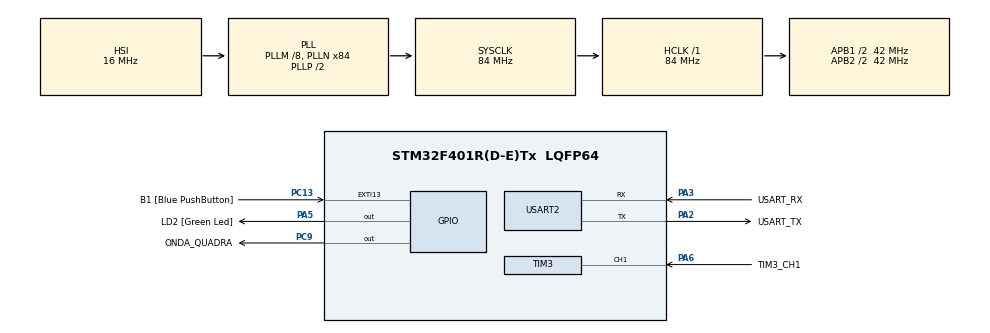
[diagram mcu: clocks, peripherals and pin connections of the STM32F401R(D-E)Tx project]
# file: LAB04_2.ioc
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Mcu.Family=STM32F4
Mcu.Name=STM32F401R(D-E)Tx
Mcu.Package=LQFP64
NVIC.PriorityGroup=NVIC_PRIORITYGROUP_0
NVIC.TIM2_IRQn=true\:0\:0\:false\:false\:true\:true\:true
NVIC.TIM3_IRQn=true\:0\:0\:false\:false\:true\:true\:true
NVIC.USART2_IRQn=true\:0\:0\:false\:false\:true\:true\:true
PA13.GPIO_Label=TMS
PA13.Mode=Serial_Wire
PA13.Signal=SYS_JTMS-SWDIO
PA14.GPIO_Label=TCK
PA14.Mode=Serial_Wire
PA14.Signal=SYS_JTCK-SWCLK
PA2.GPIO_Label=USART_TX
PA2.GPIO_Mode=GPIO_MODE_AF_PP
PA2.GPIO_PuPd=GPIO_NOPULL
PA2.GPIO_Speed=GPIO_SPEED_FREQ_LOW
PA2.Mode=Asynchronous
PA2.Signal=USART2_TX
PA3.GPIO_Label=USART_RX
PA3.GPIO_Mode=GPIO_MODE_AF_PP
PA3.GPIO_PuPd=GPIO_NOPULL
PA3.GPIO_Speed=GPIO_SPEED_FREQ_LOW
PA3.Mode=Asynchronous
PA3.Signal=USART2_RX
PA5.GPIO_Label=LD2 [Green Led]
PA5.GPIO_Mode=GPIO_MODE_OUTPUT_PP
PA5.GPIO_PuPd=GPIO_NOPULL
PA5.GPIO_Speed=GPIO_SPEED_FREQ_LOW
PA5.Signal=GPIO_Output
PA6.GPIO_Label=TIM3_CH1
PA6.Signal=S_TIM3_CH1
PB3.GPIO_Label=SWO
PB3.Signal=SYS_JTDO-SWO
PC13-ANTI_TAMP.GPIO_Label=B1 [Blue PushButton]
PC13-ANTI_TAMP.GPIO_ModeDefaultEXTI=GPIO_MODE_IT_FALLING
PC13-ANTI_TAMP.GPIO_PuPd=GPIO_NOPULL
PC13-ANTI_TAMP.Signal=GPXTI13
PC14-OSC32_IN.Mode=LSE-External-Oscillator
PC14-OSC32_IN.Signal=RCC_OSC32_IN
PC15-OSC32_OUT.Mode=LSE-External-Oscillator
PC15-OSC32_OUT.Signal=RCC_OSC32_OUT
PC9.GPIO_Label=ONDA_QUADRA
PC9.Signal=GPIO_Output
PH0\ -\ OSC_IN.Mode=HSE-External-Clock-Source
PH0\ -\ OSC_IN.Signal=RCC_OSC_IN
PH1\ -\ OSC_OUT.Mode=HSE-External-Clock-Source
PH1\ -\ OSC_OUT.Signal=RCC_OSC_OUT
ProjectManager.HeapSize=0x200
ProjectManager.StackSize=0x400
ProjectManager.TargetToolchain=STM32CubeIDE
RCC.48MHZClocksFreq_Value=24000000
RCC.AHBFreq_Value=84000000
RCC.APB1CLKDivider=RCC_HCLK_DIV2
RCC.APB1Freq_Value=42000000
RCC.APB1TimFreq_Value=84000000
RCC.APB2CLKDivider=RCC_HCLK_DIV2
RCC.APB2Freq_Value=42000000
RCC.APB2TimFreq_Value=84000000
RCC.CortexFreq_Value=84000000
RCC.HCLKFreq_Value=84000000
RCC.HSE_VALUE=8000000
RCC.HSI_VALUE=16000000
RCC.PLLM=8
RCC.PLLN=84
RCC.PLLQ=7
RCC.SYSCLKFreq_VALUE=84000000
RCC.SYSCLKSource=RCC_SYSCLKSOURCE_PLLCLK
RCC.VCOOutputFreq_Value=168000000
SH.S_TIM3_CH1.0=TIM3_CH1,Input_Capture1_from_TI1
TIM2.Channel-Output\ Compare1\ No\ Output=TIM_CHANNEL_1
TIM2.Period=99
TIM2.Prescaler=4199
TIM3.Channel-Input_Capture1_from_TI1=TIM_CHANNEL_1
TIM3.ICPolarity_CH1=TIM_INPUTCHANNELPOLARITY_BOTHEDGE
TIM3.Period=9999
TIM3.Prescaler=167
USART2.VirtualMode=VM_ASYNC
VP_TIM2_VS_ClockSourceINT.Mode=Internal
VP_TIM2_VS_no_output1.Mode=Output Compare1 No Output
VP_TIM3_VS_ClockSourceINT.Mode=Internal
board=NUCLEO-F401RE

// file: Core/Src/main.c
/* USER CODE BEGIN Header */
/**
  ******************************************************************************
  * @file           : main.c
  * @brief          : Main program body
  ******************************************************************************
  * @attention
  *
  * <h2><center>&copy; Copyright (c) 2023 STMicroelectronics.
  * All rights reserved.</center></h2>
  *
  * This software component is licensed by ST under BSD 3-Clause license,
  * the "License"; You may not use this file except in compliance with the
  * License. You may obtain a copy of the License at:
  *                        opensource.org/licenses/BSD-3-Clause
  *
  ******************************************************************************
  */
/* USER CODE END Header */
#include "main.h"

/* USER CODE BEGIN Includes */
#include "string.h"
#include <stdio.h>
#include <stdlib.h>
/* USER CODE END Includes */

/* USER CODE BEGIN PD */
#define CAPTURING 0
#define DONE 1
#define NONE 0
#define RISING 1
#define FALLING 2
/* USER CODE END PD */

TIM_HandleTypeDef htim2;
TIM_HandleTypeDef htim3;

UART_HandleTypeDef huart2;

/* USER CODE BEGIN PV */
char msg[30];
char receivedData[3];
char test[] = "\rHo catturato qualcosa!\r\n";
char msg_overflow[] = "\rOverflow!\r\n";
volatile uint8_t number_of_overflows = 0;
volatile uint8_t number_of_overflows_fall = 0;
volatile uint8_t captured_edge = 0;
volatile uint16_t cnt_1 = 0;
volatile uint16_t cnt_2 = 0;
volatile uint16_t cnt_fall = 0;
volatile uint16_t delta_cnt = 0;
volatile uint16_t delta_fall = 0;
volatile uint16_t frequency;
volatile uint8_t max_frequency = 0;
volatile uint8_t min_frequency = 0;
volatile uint8_t dutycycle;
volatile uint8_t read_buffer_new = 0;
volatile uint8_t counting_fall_overflows = 0;
volatile uint8_t counting_overflows = 0;
volatile uint8_t variables_reset = 0;
char readBuf[1];
char msg[30];
volatile uint8_t user_choice = 0;
/* USER CODE END PV */

void SystemClock_Config(void);
static void MX_GPIO_Init(void);
static void MX_USART2_UART_Init(void);
static void MX_TIM3_Init(void);
static void MX_TIM2_Init(void);
/* USER CODE BEGIN PFP */
void processCapturedData(uint8_t edge_type);//
/* USER CODE END PFP */

int main(void)
{

  /* MCU Configuration--------------------------------------------------------*/

  /* Reset of all peripherals, Initializes the Flash interface and the Systick. */
  HAL_Init();

  /* Configure the system clock */
  SystemClock_Config();

  /* Initialize all configured peripherals */
  MX_GPIO_Init();
  MX_USART2_UART_Init();
  MX_TIM3_Init();
  MX_TIM2_Init();
  /* USER CODE BEGIN 2 */
  TIM2->CCR1 = 20;
  HAL_TIM_OC_Start_IT(&htim2,TIM_CHANNEL_1);
  HAL_TIM_IC_Start_IT(&htim3,TIM_CHANNEL_1);
  /* USER CODE END 2 */

  /* Infinite loop */
  /* USER CODE BEGIN WHILE */
  HAL_UART_Receive_IT(&huart2, (uint8_t*)readBuf, 1);
  while (1)
  {
	  //prints an error message if the user inputs a value other than the proposed ones
	  //	  if (user_choice <0 || user_choice >3){
	  //		  HAL_UART_Transmit_IT(&huart2, (uint8_t*)ERROR_MSG, strlen(ERROR_MSG));
	  //	  }
	  //	  if (number_of_overflows != 0){
	  //		  sprintf(msg, "Overflow number: %u\r\n", number_of_overflows);
	  //		  HAL_UART_Transmit_IT(&huart2, (uint8_t*)msg, strlen(msg));
	  //	  }
	  if (captured_edge != NONE){
		  processCapturedData(captured_edge);
	  }
	  if (number_of_overflows > 100){
		  cnt_1 = 0;
		  cnt_2 = 0;
		  cnt_fall = 0;
		  delta_cnt = 0;
		  delta_fall = 0;
		  dutycycle = 0;
		  frequency = 0;
		  number_of_overflows = 0;
		  counting_overflows = 0;
	  }
    /* USER CODE END WHILE */

  }
}

void SystemClock_Config(void)
{
  RCC_OscInitTypeDef RCC_OscInitStruct = {0};
  RCC_ClkInitTypeDef RCC_ClkInitStruct = {0};

  /** Configure the main internal regulator output voltage
  */
  __HAL_RCC_PWR_CLK_ENABLE();
  __HAL_PWR_VOLTAGESCALING_CONFIG(PWR_REGULATOR_VOLTAGE_SCALE2);
  /** Initializes the RCC Oscillators according to the specified parameters
  * in the RCC_OscInitTypeDef structure.
  */
  RCC_OscInitStruct.OscillatorType = RCC_OSCILLATORTYPE_HSI;
  RCC_OscInitStruct.HSIState = RCC_HSI_ON;
  RCC_OscInitStruct.HSICalibrationValue = RCC_HSICALIBRATION_DEFAULT;
  RCC_OscInitStruct.PLL.PLLState = RCC_PLL_ON;
  RCC_OscInitStruct.PLL.PLLSource = RCC_PLLSOURCE_HSI;
  RCC_OscInitStruct.PLL.PLLM = 8;
  RCC_OscInitStruct.PLL.PLLN = 84;
  RCC_OscInitStruct.PLL.PLLP = RCC_PLLP_DIV2;
  RCC_OscInitStruct.PLL.PLLQ = 7;
  if (HAL_RCC_OscConfig(&RCC_OscInitStruct) != HAL_OK)
  {
    Error_Handler();
  }
  /** Initializes the CPU, AHB and APB buses clocks
  */
  RCC_ClkInitStruct.ClockType = RCC_CLOCKTYPE_HCLK|RCC_CLOCKTYPE_SYSCLK
                              |RCC_CLOCKTYPE_PCLK1|RCC_CLOCKTYPE_PCLK2;
  RCC_ClkInitStruct.SYSCLKSource = RCC_SYSCLKSOURCE_PLLCLK;
  RCC_ClkInitStruct.AHBCLKDivider = RCC_SYSCLK_DIV1;
  RCC_ClkInitStruct.APB1CLKDivider = RCC_HCLK_DIV2;
  RCC_ClkInitStruct.APB2CLKDivider = RCC_HCLK_DIV2;

  if (HAL_RCC_ClockConfig(&RCC_ClkInitStruct, FLASH_LATENCY_2) != HAL_OK)
  {
    Error_Handler();
  }
}

static void MX_TIM2_Init(void)
{

  TIM_ClockConfigTypeDef sClockSourceConfig = {0};
  TIM_MasterConfigTypeDef sMasterConfig = {0};
  TIM_OC_InitTypeDef sConfigOC = {0};

  htim2.Instance = TIM2;
  htim2.Init.Prescaler = 4199;
  htim2.Init.CounterMode = TIM_COUNTERMODE_UP;
  htim2.Init.Period = 99;
  htim2.Init.ClockDivision = TIM_CLOCKDIVISION_DIV1;
  htim2.Init.AutoReloadPreload = TIM_AUTORELOAD_PRELOAD_DISABLE;
  if (HAL_TIM_Base_Init(&htim2) != HAL_OK)
  {
    Error_Handler();
  }
  sClockSourceConfig.ClockSource = TIM_CLOCKSOURCE_INTERNAL;
  if (HAL_TIM_ConfigClockSource(&htim2, &sClockSourceConfig) != HAL_OK)
  {
    Error_Handler();
  }
  if (HAL_TIM_OC_Init(&htim2) != HAL_OK)
  {
    Error_Handler();
  }
  sMasterConfig.MasterOutputTrigger = TIM_TRGO_RESET;
  sMasterConfig.MasterSlaveMode = TIM_MASTERSLAVEMODE_DISABLE;
  if (HAL_TIMEx_MasterConfigSynchronization(&htim2, &sMasterConfig) != HAL_OK)
  {
    Error_Handler();
  }
  sConfigOC.OCMode = TIM_OCMODE_TIMING;
  sConfigOC.Pulse = 0;
  sConfigOC.OCPolarity = TIM_OCPOLARITY_HIGH;
  sConfigOC.OCFastMode = TIM_OCFAST_DISABLE;
  if (HAL_TIM_OC_ConfigChannel(&htim2, &sConfigOC, TIM_CHANNEL_1) != HAL_OK)
  {
    Error_Handler();
  }

}

static void MX_TIM3_Init(void)
{

  /* USER CODE BEGIN TIM3_Init 0 */
//	__HAL_TIM_ENABLE_IT(&htim3, TIM_IT_UPDATE);
  /* USER CODE END TIM3_Init 0 */

  TIM_ClockConfigTypeDef sClockSourceConfig = {0};
  TIM_MasterConfigTypeDef sMasterConfig = {0};
  TIM_IC_InitTypeDef sConfigIC = {0};

  /* USER CODE BEGIN TIM3_Init 1 */
//  __HAL_TIM_ENABLE_IT(&htim3, TIM_IT_UPDATE);
  /* USER CODE END TIM3_Init 1 */
  htim3.Instance = TIM3;
  htim3.Init.Prescaler = 167;
  htim3.Init.CounterMode = TIM_COUNTERMODE_UP;
  htim3.Init.Period = 9999;
  htim3.Init.ClockDivision = TIM_CLOCKDIVISION_DIV1;
  htim3.Init.AutoReloadPreload = TIM_AUTORELOAD_PRELOAD_DISABLE;
  if (HAL_TIM_Base_Init(&htim3) != HAL_OK)
  {
    Error_Handler();
  }
  sClockSourceConfig.ClockSource = TIM_CLOCKSOURCE_INTERNAL;
  if (HAL_TIM_ConfigClockSource(&htim3, &sClockSourceConfig) != HAL_OK)
  {
    Error_Handler();
  }
  if (HAL_TIM_IC_Init(&htim3) != HAL_OK)
  {
    Error_Handler();
  }
  sMasterConfig.MasterOutputTrigger = TIM_TRGO_RESET;
  sMasterConfig.MasterSlaveMode = TIM_MASTERSLAVEMODE_DISABLE;
  if (HAL_TIMEx_MasterConfigSynchronization(&htim3, &sMasterConfig) != HAL_OK)
  {
    Error_Handler();
  }
  sConfigIC.ICPolarity = TIM_INPUTCHANNELPOLARITY_BOTHEDGE;
  sConfigIC.ICSelection = TIM_ICSELECTION_DIRECTTI;
  sConfigIC.ICPrescaler = TIM_ICPSC_DIV1;
  sConfigIC.ICFilter = 0;
  if (HAL_TIM_IC_ConfigChannel(&htim3, &sConfigIC, TIM_CHANNEL_1) != HAL_OK)
  {
    Error_Handler();
  }
  /* USER CODE BEGIN TIM3_Init 2 */
  __HAL_TIM_ENABLE_IT(&htim3, TIM_IT_UPDATE); //Enables the TIM_IT_UPDATE interrupt -> enables PeriodElapsed callback
  /* USER CODE END TIM3_Init 2 */

}

static void MX_USART2_UART_Init(void)
{

  huart2.Instance = USART2;
  huart2.Init.BaudRate = 115200;
  huart2.Init.WordLength = UART_WORDLENGTH_8B;
  huart2.Init.StopBits = UART_STOPBITS_1;
  huart2.Init.Parity = UART_PARITY_NONE;
  huart2.Init.Mode = UART_MODE_TX_RX;
  huart2.Init.HwFlowCtl = UART_HWCONTROL_NONE;
  huart2.Init.OverSampling = UART_OVERSAMPLING_16;
  if (HAL_UART_Init(&huart2) != HAL_OK)
  {
    Error_Handler();
  }

}

static void MX_GPIO_Init(void)
{
  GPIO_InitTypeDef GPIO_InitStruct = {0};

  /* GPIO Ports Clock Enable */
  __HAL_RCC_GPIOC_CLK_ENABLE();
  __HAL_RCC_GPIOH_CLK_ENABLE();
  __HAL_RCC_GPIOA_CLK_ENABLE();
  __HAL_RCC_GPIOB_CLK_ENABLE();

  /*Configure GPIO pin Output Level */
  HAL_GPIO_WritePin(LD2_GPIO_Port, LD2_Pin, GPIO_PIN_RESET);

  /*Configure GPIO pin Output Level */
  HAL_GPIO_WritePin(ONDA_QUADRA_GPIO_Port, ONDA_QUADRA_Pin, GPIO_PIN_RESET);

  /*Configure GPIO pin : B1_Pin */
  GPIO_InitStruct.Pin = B1_Pin;
  GPIO_InitStruct.Mode = GPIO_MODE_IT_FALLING;
  GPIO_InitStruct.Pull = GPIO_NOPULL;
  HAL_GPIO_Init(B1_GPIO_Port, &GPIO_InitStruct);

  /*Configure GPIO pin : LD2_Pin */
  GPIO_InitStruct.Pin = LD2_Pin;
  GPIO_InitStruct.Mode = GPIO_MODE_OUTPUT_PP;
  GPIO_InitStruct.Pull = GPIO_NOPULL;
  GPIO_InitStruct.Speed = GPIO_SPEED_FREQ_LOW;
  HAL_GPIO_Init(LD2_GPIO_Port, &GPIO_InitStruct);

  /*Configure GPIO pin : ONDA_QUADRA_Pin */
  GPIO_InitStruct.Pin = ONDA_QUADRA_Pin;
  GPIO_InitStruct.Mode = GPIO_MODE_OUTPUT_PP;
  GPIO_InitStruct.Pull = GPIO_NOPULL;
  GPIO_InitStruct.Speed = GPIO_SPEED_FREQ_LOW;
  HAL_GPIO_Init(ONDA_QUADRA_GPIO_Port, &GPIO_InitStruct);

}

/* USER CODE BEGIN 4 */
void HAL_TIM_OC_DelayElapsedCallback(TIM_HandleTypeDef * htim) {
	if (htim->Instance == TIM2){
		HAL_GPIO_TogglePin(GPIOC, GPIO_PIN_9);
		HAL_GPIO_TogglePin(GPIOA, GPIO_PIN_5);
		if (TIM2->CCR1 == 30) {
			TIM2->CCR1 = 20;
		}
		else TIM2->CCR1 = 30;
	}
}

void HAL_TIM_IC_CaptureCallback(TIM_HandleTypeDef * htim){
	if (HAL_GPIO_ReadPin(GPIOA, GPIO_PIN_6) == GPIO_PIN_SET){
		captured_edge = RISING;
	}
	else if (HAL_GPIO_ReadPin(GPIOA, GPIO_PIN_6) == GPIO_PIN_RESET){
		captured_edge = FALLING;
	}
//	processCapturedData(captured_edge);
}

void processCapturedData(uint8_t captured_edge){
	switch (captured_edge) {
	case RISING:
		if (cnt_1 == 0 && cnt_2 == 0 && cnt_fall == 0){
			counting_overflows = 0;
			number_of_overflows = 0;
			cnt_1 = TIM3->CCR1;
//			sprintf(msg, "cnt_t1: %u\r\n", cnt_1);
//			HAL_UART_Transmit_IT(&huart2, (uint8_t*)msg, strlen(msg));
			counting_fall_overflows = 1;
			counting_overflows = 1;
			variables_reset = 0;
			captured_edge = NONE;
		}
		else if (cnt_fall != 0 && cnt_2 == 0 && cnt_1 != 0){
			cnt_2 = TIM3->CCR1;
//			sprintf(msg, "cnt_t2: %u\r\n", cnt_2);
//			HAL_UART_Transmit_IT(&huart2, (uint8_t*)msg, strlen(msg));
			counting_overflows = 0;
			delta_cnt = cnt_2 + number_of_overflows*10000 - cnt_1;
			frequency = 50*10000/delta_cnt;
			if (frequency > max_frequency) max_frequency = frequency;
			else if (frequency < min_frequency) min_frequency = frequency;
			delta_fall = cnt_fall + number_of_overflows_fall*10000 - cnt_1;
			dutycycle = 100*delta_fall/delta_cnt;
			captured_edge = NONE;
		}
		break;
	case FALLING:
		if (cnt_1 != 0 && cnt_2 == 0 && cnt_fall == 0){
			cnt_fall = TIM3->CCR1;
//			sprintf(msg, "cnt_fall: %u\r\n", cnt_fall);
//			HAL_UART_Transmit_IT(&huart2, (uint8_t*)msg, strlen(msg));
			captured_edge = NONE;
			counting_fall_overflows = 0;
		}
		break;
	}
	if (frequency !=0 && dutycycle != 0){
		if(variables_reset != 1){
			cnt_1 = 0;
			cnt_2 = 0;
			cnt_fall = 0;
			variables_reset = 1;
		}
	}
}

void HAL_TIM_PeriodElapsedCallback(TIM_HandleTypeDef * htim){
	if (htim->Instance == TIM3){
//		if (capture_state == DONE) HAL_GPIO_TogglePin(GPIOA, GPIO_PIN_5);
		if (counting_overflows != 0) {
			number_of_overflows++;
			if (counting_fall_overflows != 0) number_of_overflows_fall++;
		}
	}
}

void processReceivedData(void){
	user_choice = atoi(readBuf);
//	HAL_GPIO_TogglePin(GPIOA, GPIO_PIN_5);
	if (user_choice == 1){
		sprintf(msg, "Current frequency: %u\r\n", frequency);
//		HAL_Delay(10);
		HAL_UART_Transmit_IT(&huart2, (uint8_t*)msg, strlen(msg));
	}
	else if (user_choice == 2){
		sprintf(msg, "Current duty cycle: %u\r\n", dutycycle);
		HAL_UART_Transmit_IT(&huart2, (uint8_t*)msg, strlen(msg));
		//			read_buffer_new = 0;
	}
	else {HAL_GPIO_TogglePin(GPIOA, GPIO_PIN_5);}
}

void HAL_UART_TxCpltCallback(UART_HandleTypeDef *huart){
}

void HAL_UART_RxCpltCallback(UART_HandleTypeDef *huart){
	//	read_buffer_new = 1;
	//	  if(read_buffer_new == 1) {
	//		  user_choice = atoi(readBuf);
	//	  }
	processReceivedData();
	HAL_UART_Receive_IT(&huart2, (uint8_t*)readBuf, 1);
}
/* USER CODE END 4 */

void Error_Handler(void)
{
  __disable_irq();
  while (1)
  {
  }
}

/************************ (C) COPYRIGHT STMicroelectronics *****END OF FILE****/
